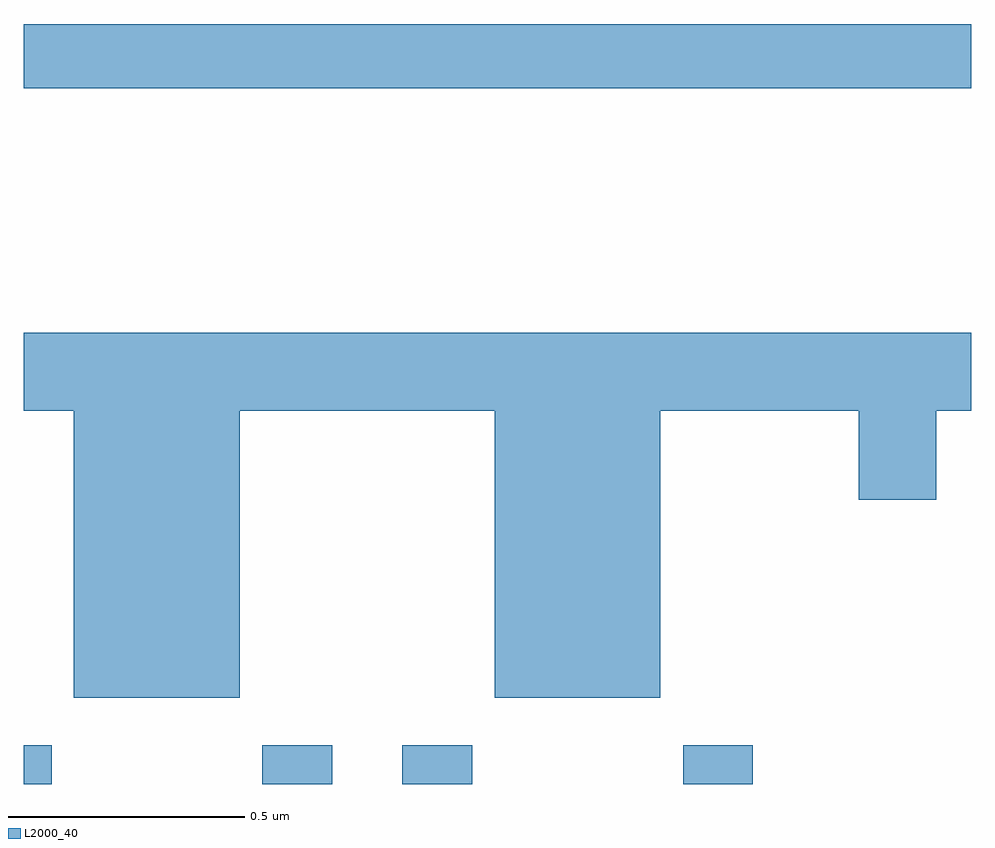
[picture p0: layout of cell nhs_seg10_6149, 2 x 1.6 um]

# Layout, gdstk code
import gdstk
lib = gdstk.Library(unit=1e-6, precision=1e-09)
def R(c, l, rs):  # rectangles x0, y0, x1, y1
    for r in rs: c.add(gdstk.rectangle(r[:2], r[2:], *l))
def P(c, l, *ps):  # polygons
    for p in ps: c.add(gdstk.Polygon(p, *l))
L2000_40 = (2000, 40)

nhs_seg10_6149 = lib.new_cell('nhs_seg10_6149')
R(nhs_seg10_6149, L2000_40, [(187,1327.5,187.059,1327.582), (187.504,1327.5,187.651,1327.582), (187.799,1327.5,187.947,1327.582), (188.392,1327.5,188.539,1327.582), (187,1328.968,189,1329.104)])
P(nhs_seg10_6149, L2000_40, [(187.456,1328.288),(187.994,1328.288),(187.994,1327.682),(188.344,1327.682),(188.344,1328.288),(188.762,1328.288),(188.762,1328.1),(188.926,1328.1),(188.926,1328.288),(189,1328.288),(189,1328.452),(187,1328.452),(187,1328.288),(187.106,1328.288),(187.106,1327.682),(187.456,1327.682)])

lib.write_gds('nhs_seg10_6149.gds')
